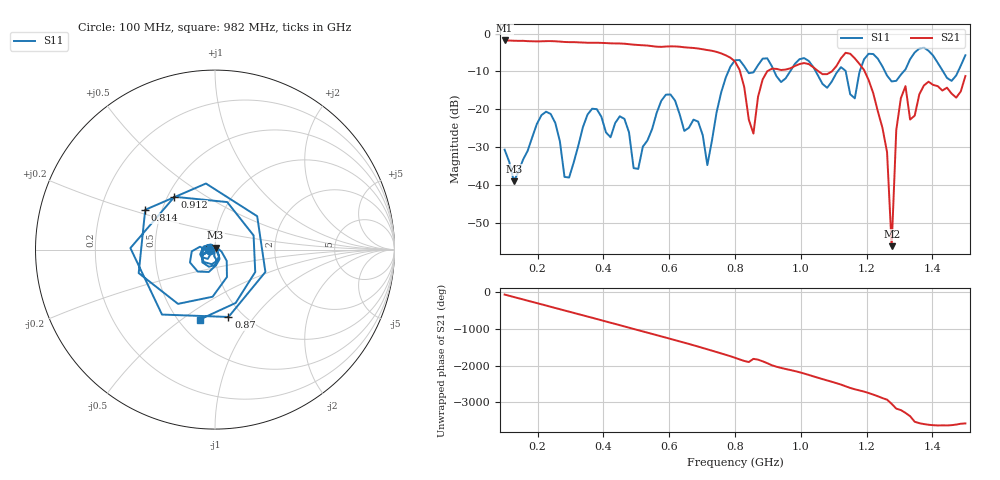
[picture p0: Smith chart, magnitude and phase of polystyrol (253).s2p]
! NanoVNA-App
! Date: 2025-09-25 15:31:51
! Start: 100MHz Stop: 1,5GHz Points: 101
! S-Parameter data: F S11 S21 S12 S22
# Hz S RI R 50
!  Frequency  S11_Real  S11_Imag  S21_Real  S21_Imag  S12_Real  S12_Imag  S22_Real  S22_Imag
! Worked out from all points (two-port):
!   101 points, 100 MHz to 1.5 GHz, reference 50 ohm
!   highest |S21| = -1.80 dB at 100 MHz (marker M1); lowest = -56.3 dB at 1.276 GHz (marker M2)
!   |S21| within 3 dB of the highest: start of sweep to 742.9 MHz
!   lowest |S11| = -39.1 dB at 128 MHz (marker M3), VSWR 1.02, Z = 50.3 + j1.06 ohm
!   |S11| at or under -10 dB: start of sweep to 779.8 MHz; 1.045 GHz to 1.112 GHz (66.61 MHz wide, 6.18 % of centre); 1.256 GHz to 1.313 GHz (56.98 MHz wide, 4.44 % of centre) (the widest 3 of 7)
!   S12 and S22 are empty: the file has one direction only
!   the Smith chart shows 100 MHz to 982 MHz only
!   S11 on the Smith chart (normalised r, x): 100 MHz: 0.94, -0.01; 814 MHz: 0.40, +0.22; 870 MHz: 0.86, -0.75; 912 MHz: 0.54, +0.37; 982 MHz: 0.63, -0.59
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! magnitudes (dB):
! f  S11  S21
! 100 MHz  -30.7  -1.8
! 128 MHz  -39.1  -1.9
! 212 MHz  -21.6  -2.0
! 282 MHz  -37.9  -2.2
! 338 MHz  -24.7  -2.4
! 506 MHz  -35.8  -3.0
! 576 MHz  -17.8  -3.5
! 716 MHz  -34.8  -4.3
! 800 MHz  -7.0  -7.4
! 814 MHz  -7.0  -9.6
! 856 MHz  -10.2  -26.4
! 870 MHz  -8.3  -16.7
! 912 MHz  -8.6  -9.3
! 982 MHz  -8.0  -8.6
! 1.038 GHz  -8.8  -8.9
! 1.164 GHz  -17.1  -6.5
! 1.206 GHz  -5.3  -12.3
! 1.262 GHz  -11.1  -31.4
! 1.276 GHz  -12.7  -56.3
! 1.29 GHz  -12.5  -25.5
! 1.318 GHz  -9.5  -13.9
! 1.5 GHz  -5.7  -11.2
